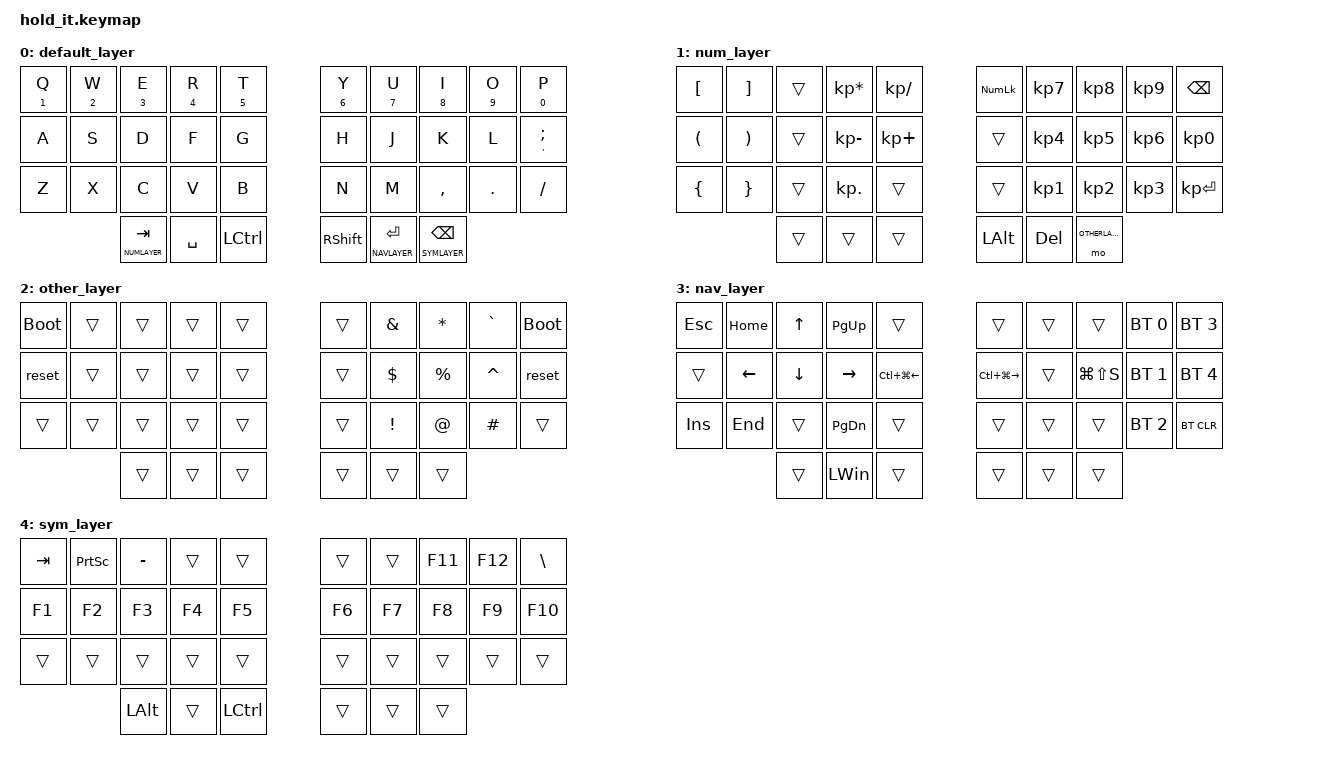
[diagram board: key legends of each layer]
#include <behaviors.dtsi>
#include <dt-bindings/zmk/reset.h>
#include <dt-bindings/zmk/keys.h>
#include <dt-bindings/zmk/bt.h>
#include <dt-bindings/zmk/outputs.h>

/*
 * Copyright (c) 2020 The ZMK Contributors
 *
 * SPDX-License-Identifier: MIT
 */

#define NUMLAYER 1
#define OTHERLAYER 2
#define NAVLAYER 3
#define SYMLAYER 4


/ {
    behaviors {
        hm: homerow_mods {
            compatible = "zmk,behavior-hold-tap";
            label = "homerow mods";
            #binding-cells = <2>;
            tapping_term_ms = <250>;
            flavor = "tap-preferred";
            bindings = <&kp>, <&kp>;
        };
    };

    keymap {
        compatible = "zmk,keymap";

        default_layer {
            bindings = <
                &hm N1 Q    &hm N2 W   &hm N3 E         &hm N4 R       &hm N5 T      &hm N6 Y         &hm N7 U           &hm N8 I    &hm N9 O    &hm N0 P
                &kp A       &kp S      &kp D            &kp F          &kp G         &kp H            &kp J              &kp K       &kp L       &hm APOS SEMI
                &kp Z       &kp X      &kp C            &kp V          &kp B         &kp N            &kp M              &kp COMMA   &kp DOT     &kp FSLH
                                        &lt NUMLAYER TAB &kp SPACE      &kp LCTRL      &kp RSHIFT       &lt NAVLAYER ENTER &lt SYMLAYER BSPC
            >;
        };

        num_layer {
            bindings = <
                &kp LBKT     &kp RBKT     &trans         &kp KP_MULTIPLY    &kp KP_DIVIDE      &kp KP_NUM   &kp KP_N7       &kp KP_N8    &kp KP_N9    &kp BSPC
                &kp LPAR     &kp RPAR     &trans         &kp KP_MINUS       &kp KP_PLUS        &trans       &kp KP_N4       &kp KP_N5    &kp KP_N6    &kp KP_N0
                &kp LBRC     &kp RBRC     &trans         &kp KP_DOT         &trans             &trans       &kp KP_N1       &kp KP_N2    &kp KP_N3    &kp KP_ENTER
                                        &trans      &trans          &trans            &kp LALT           &kp DEL        &mo OTHERLAYER
            >;
        };

        other_layer {
            bindings = <
                &bootloader      &trans     &trans      &trans          &trans       &trans           &kp AMPS       &kp STAR    &kp GRAVE    &bootloader
                &reset           &trans     &trans      &trans          &trans       &trans           &kp DLLR       &kp PRCNT   &kp CARET    &reset
                &trans           &trans     &trans      &trans          &trans       &trans           &kp EXCL       &kp AT      &kp HASH     &trans
                                       &trans      &trans          &trans       &trans           &trans        &trans
            >;
        };

        nav_layer {
            bindings = <
                &kp ESC     &kp HOME     &kp UP        &kp PG_UP         &trans                &trans                 &trans       &trans              &bt BT_SEL 0     &bt BT_SEL 3
                &trans      &kp LEFT     &kp DOWN      &kp RIGHT         &kp LC(LG(LEFT))      &kp LC(LG(RIGHT))      &trans       &kp LG(LS(S))       &bt BT_SEL 1     &bt BT_SEL 4
                &kp INS     &kp END      &trans        &kp PG_DN         &trans                &trans                 &trans       &trans              &bt BT_SEL 2     &bt BT_CLR
                                         &trans      &kp LWIN          &trans              &trans          &trans         &trans 
            >;
        };

        sym_layer {
            bindings = <
                &kp TAB     &kp PSCRN   &kp MINUS       &trans        &trans         &trans          &trans   &kp F11   &kp F12   &kp BSLH
                &kp F1      &kp F2      &kp F3          &kp F4        &kp F5         &kp F6          &kp F7   &kp F8    &kp F9    &kp F10
                &trans      &trans      &trans          &trans        &trans         &trans          &trans   &trans    &trans    &trans
                                        &kp LALT      &trans     &kp LCTRL      &trans          &trans         &trans 
            >;
        };
    };
};
